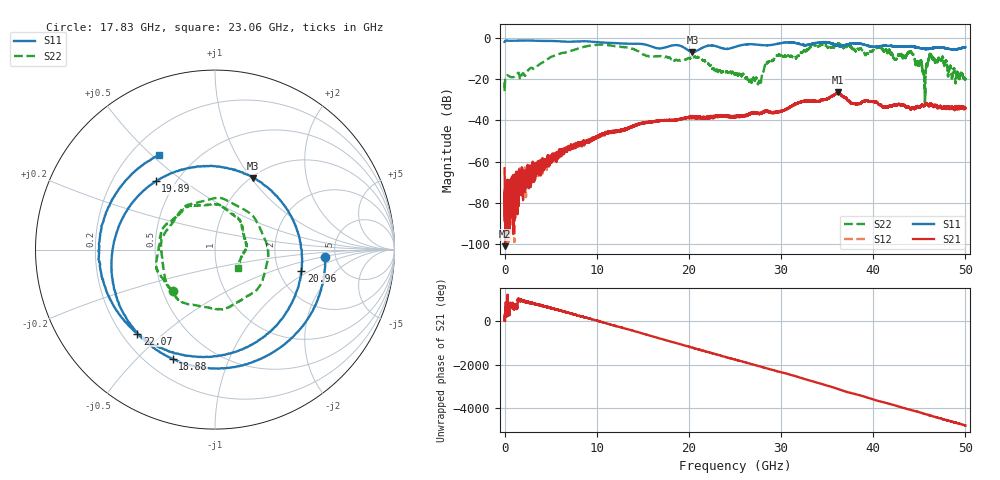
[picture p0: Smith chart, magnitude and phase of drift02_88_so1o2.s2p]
!Created with skrf (http://scikit-rf.org).
# Hz S RI R 50.0
!freq ReS11 ImS11 ReS21 ImS21 ReS12 ImS12 ReS22 ImS22
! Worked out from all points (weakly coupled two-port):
!   10001 points, 300 kHz to 50 GHz, reference 50 ohm
!   highest |S21| = -26.27 dB at 36.13 GHz (marker M1); lowest = -100.9 dB at 60.3 MHz (marker M2)
!   lowest |S11| = -6.9 dB at 20.38 GHz (marker M3), VSWR 2.64, Z = 50.9 + j50.8 ohm
!   |S11| at or under -10 dB: nowhere
!   |S22| runs from -31.4 to -2.6 dB; largest |S21 - S12| = 0.0046
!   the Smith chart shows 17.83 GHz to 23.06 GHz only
!   S11 on the Smith chart (normalised r, x): 17.83 GHz: 4.13, -0.55; 18.88 GHz: 0.30, -0.64; 19.89 GHz: 0.39, +0.40; 20.96 GHz: 2.67, -0.83; 22.07 GHz: 0.26, -0.41; 23.06 GHz: 0.31, +0.53
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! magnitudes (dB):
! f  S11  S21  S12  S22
! 300 kHz  -2.1  -63.2  -73.5  -21.6
! 60.3 MHz  -1.6  -100.9  -87.3  -20.3
! 8.335 GHz  -1.7  -50.7  -51.6  -4.7
! 16.67 GHz  -5.2  -40.1  -40.2  -9.0
! 17.83 GHz  -4.2  -39.8  -40.0  -9.6
! 18.88 GHz  -3.7  -39.6  -39.6  -10.9
! 19.89 GHz  -6.0  -38.6  -38.6  -9.9
! 20.38 GHz  -6.9  -38.7  -38.7  -9.7
! 20.96 GHz  -6.1  -38.4  -38.5  -9.3
! 22.07 GHz  -3.9  -38.5  -38.8  -12.2
! 23.06 GHz  -4.3  -38.2  -38.3  -15.6
! 25 GHz  -4.5  -38.0  -38.2  -17.8
! 27.63 GHz  -3.5  -36.7  -36.6  -21.3
! 29.54 GHz  -3.0  -36.0  -35.8  -8.7
! 33.34 GHz  -3.0  -30.5  -30.5  -3.8
! 36.13 GHz  -4.0  -26.3  -26.8  -3.1
! 41.67 GHz  -3.9  -33.2  -33.4  -6.0
! 44.14 GHz  -4.2  -34.3  -34.5  -7.1
! 45.53 GHz  -5.3  -32.9  -32.8  -19.2
! 46.19 GHz  -5.3  -32.3  -32.0  -7.8
! 47.35 GHz  -4.8  -33.1  -33.4  -10.9
! 50 GHz  -4.6  -34.3  -34.3  -20.3
